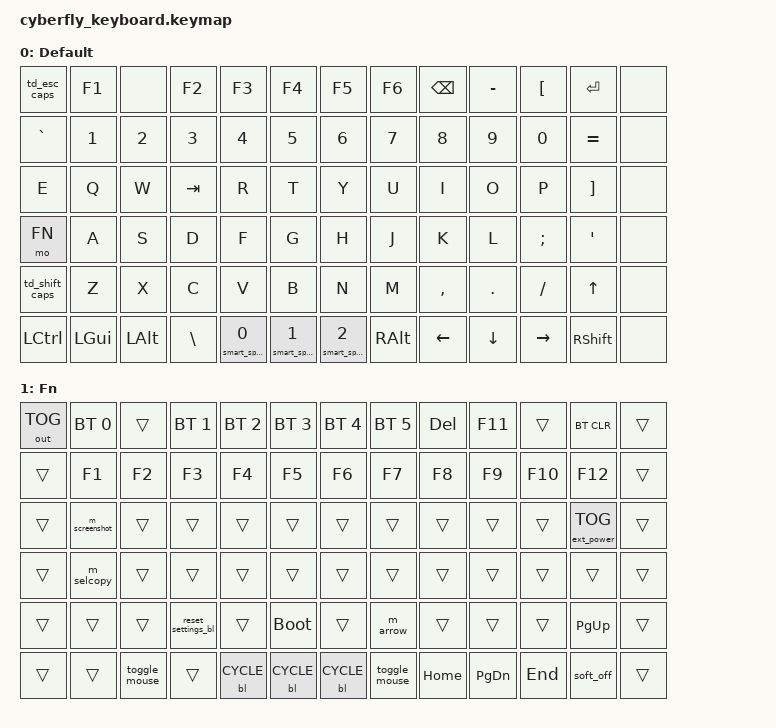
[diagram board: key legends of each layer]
/*
 * Copyright (c) 2025 The ZMK Contributors
 *
 * SPDX-License-Identifier: MIT
 */

#include <behaviors.dtsi>
#include <dt-bindings/zmk/keys.h>
#include <dt-bindings/zmk/bt.h>
#include <dt-bindings/zmk/outputs.h>
#include <dt-bindings/zmk/backlight.h>
#include <dt-bindings/zmk/ext_power.h>
#include <dt-bindings/zmk/pointing.h>

#define DEFAULT 0
#define FN      1

/ {
    behaviors {
        td_esc_caps: td_esc_caps {
            compatible = "zmk,behavior-tap-dance";
            #binding-cells = <0>;
            tapping-term-ms = <250>;
            bindings = <&kp ESC>, <&caps_word>;
        };

        td_shift_caps: td_shift_caps {
            compatible = "zmk,behavior-tap-dance";
            #binding-cells = <0>;
            tapping-term-ms = <200>;
            bindings = <&kp LSHFT>, <&kp CAPS>;
        };
    };

    macros {
        m_screenshot: m_screenshot {
            compatible = "zmk,behavior-macro";
            #binding-cells = <0>;
            bindings = <&kp LG(LS(N4))>;
        };

        m_selcopy: m_selcopy {
            compatible = "zmk,behavior-macro";
            #binding-cells = <0>;
            bindings
                = <&macro_tap &kp LC(A)>
                , <&macro_wait_time 50>
                , <&macro_tap &kp LC(C)>
                ;
        };

        m_arrow: m_arrow {
            compatible = "zmk,behavior-macro";
            #binding-cells = <0>;
            bindings = <&kp LPAR &kp RPAR &kp SPACE &kp EQUAL &kp GT &kp SPACE &kp LBRC &kp RBRC>;
        };
    };

    combos {
        compatible = "zmk,combos";

        combo_jk_esc {
            timeout-ms = <50>;
            key-positions = <46 47>;
            bindings = <&kp ESC>;
            layers = <DEFAULT>;
        };

        combo_df_tab {
            timeout-ms = <50>;
            key-positions = <42 43>;
            bindings = <&kp TAB>;
            layers = <DEFAULT>;
        };

        combo_jkl_capsword {
            timeout-ms = <50>;
            key-positions = <46 47 48>;
            bindings = <&caps_word>;
            layers = <DEFAULT>;
        };

        combo_fj_enter {
            timeout-ms = <50>;
            key-positions = <43 46>;
            bindings = <&kp RET>;
            layers = <DEFAULT>;
        };

        combo_fn_rshft_mouse {
            timeout-ms = <75>;
            key-positions = <39 76>;
            bindings = <&toggle_mouse>;
        };
    };

    keymap {
        compatible = "zmk,keymap";

        default_layer {
            display-name = "Default";
            bindings = <
                &td_esc_caps &kp F1    &none     &kp F2    &kp F3    &kp F4    &kp F5    &kp F6    &kp BSPC  &kp MINUS &kp LBKT  &kp RET   &none
                &kp GRAVE &kp N1    &kp N2    &kp N3    &kp N4    &kp N5    &kp N6    &kp N7    &kp N8    &kp N9    &kp N0    &kp EQUAL &none
                &kp E     &kp Q     &kp W     &kp TAB   &kp R     &kp T     &kp Y     &kp U     &kp I     &kp O     &kp P     &kp RBKT  &none
                &mo FN    &kp A     &kp S     &kp D     &kp F     &kp G     &kp H     &kp J     &kp K     &kp L     &kp SEMI  &kp SQT   &none
                &td_shift_caps &kp Z &kp X    &kp C     &kp V     &kp B     &kp N     &kp M     &kp COMMA &kp DOT   &kp FSLH  &kp UP    &none
                &kp LCTRL &kp LGUI  &kp LALT  &kp BSLH  &smart_space 0 &smart_space 1 &smart_space 2 &kp RALT  &kp LEFT  &kp DOWN  &kp RIGHT &kp RSHFT &none
            >;
        };

        fn_layer {
            display-name = "Fn";
            bindings = <
                &out OUT_TOG &bt BT_SEL 0 &trans &bt BT_SEL 1 &bt BT_SEL 2 &bt BT_SEL 3 &bt BT_SEL 4 &bt BT_SEL 5 &kp DEL &kp F11 &trans &bt BT_CLR &trans
                &trans      &kp F1    &kp F2       &kp F3       &kp F4       &kp F5       &kp F6    &kp F7 &kp F8   &kp F9   &kp F10  &kp F12 &trans
                &trans      &m_screenshot &trans      &trans       &trans       &trans       &trans    &trans &trans   &trans   &trans   &ext_power EP_TOG &trans
                &trans      &m_selcopy   &trans       &trans       &trans       &trans       &trans    &trans &trans   &trans   &trans   &trans  &trans
                &trans      &trans       &trans       &reset_settings_bl &trans &bootloader &trans   &m_arrow &trans &trans   &trans   &kp PG_UP &trans
                &trans      &trans       &toggle_mouse &trans      &bl BL_CYCLE &bl BL_CYCLE &bl BL_CYCLE &toggle_mouse &kp HOME &kp PG_DN &kp END &soft_off &trans
            >;
        };
    };
};
